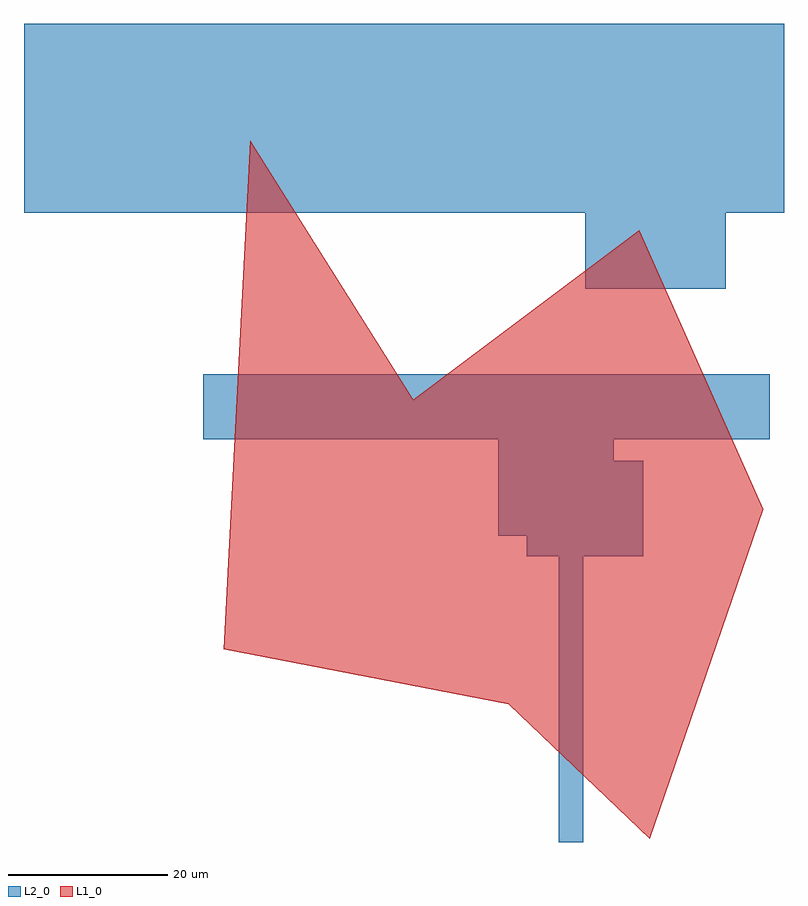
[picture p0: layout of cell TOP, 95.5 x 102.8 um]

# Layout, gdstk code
import gdstk
lib = gdstk.Library(unit=1e-6, precision=1e-09)
def R(c, l, rs):  # rectangles x0, y0, x1, y1
    for r in rs: c.add(gdstk.rectangle(r[:2], r[2:], *l))
def P(c, l, *ps):  # polygons
    for p in ps: c.add(gdstk.Polygon(p, *l))
L1_0 = (1, 0)
L2_0 = (2, 0)

top = lib.new_cell('TOP')
P(top, L1_0, [(51.8,-25.4),(34.1,-8.5),(-1.7,-1.6),(1.6,62.3),(22.1,29.8),(50.5,51.1),(66.1,16)])
R(top, L2_0, [(40.4,-25.8,43.5,12.7), (36.4,10.1,51,22.1), (32.8,12.7,47.3,25.9), (-4.3,24.8,66.9,33), (43.7,43.7,61.4,56.5), (-26.8,53.3,68.7,77)])

lib.write_gds('TOP.gds')
